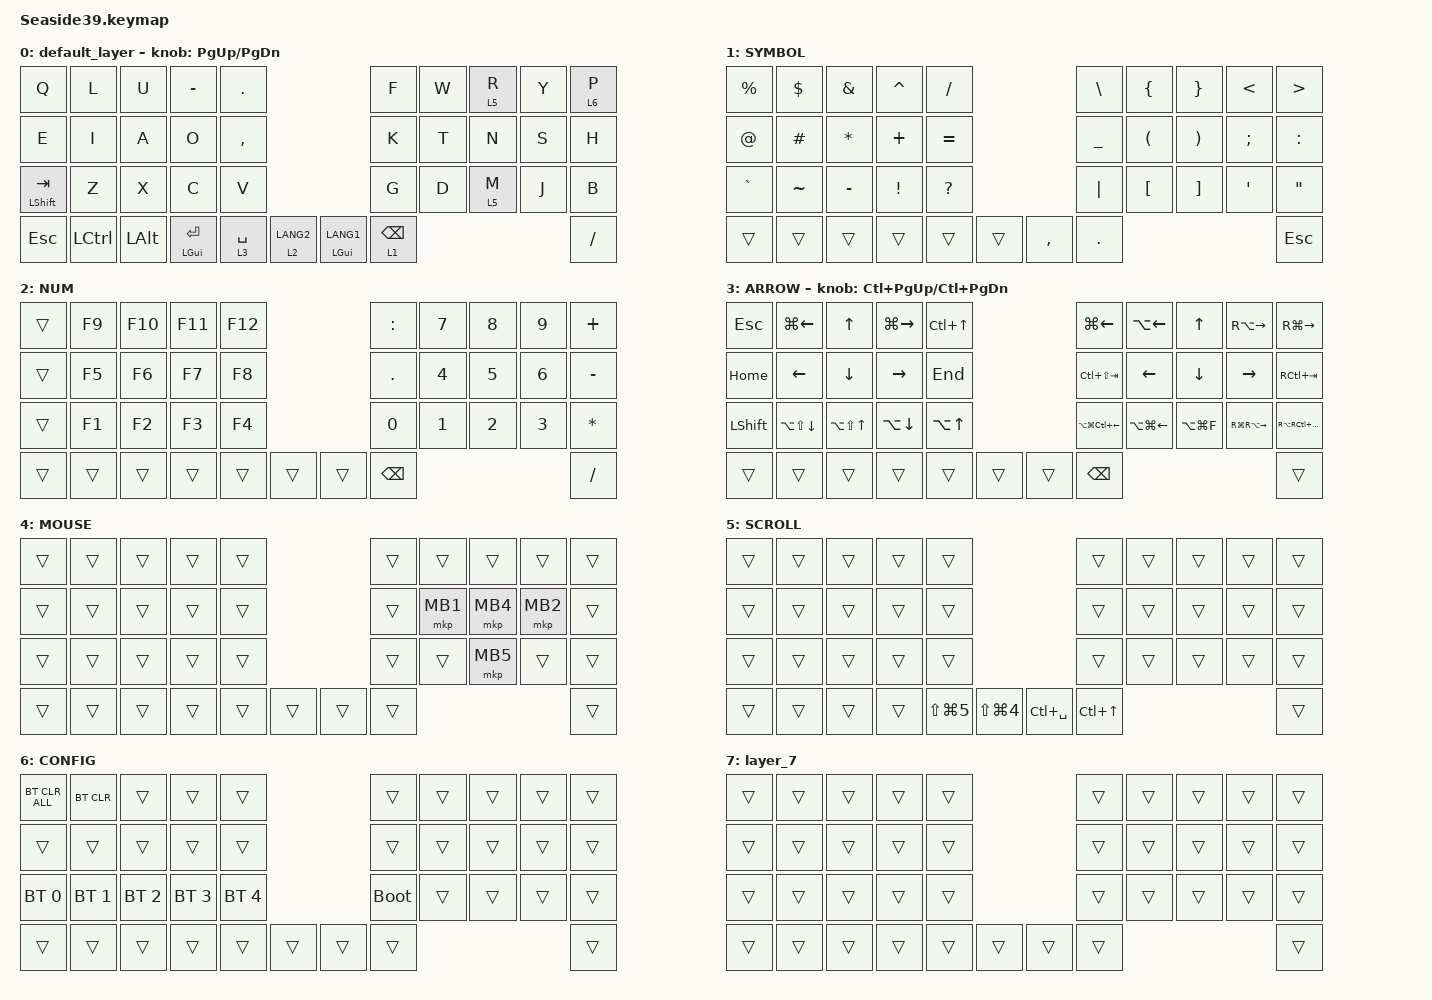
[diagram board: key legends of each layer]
#include <behaviors.dtsi>
#include <dt-bindings/zmk/bt.h>
#include <dt-bindings/zmk/keys.h>
#include <dt-bindings/zmk/pointing.h>

#define MOUSE 4
#define SCROLL 5
#define NUM 6

&mt {
    flavor = "balanced";
    quick-tap-ms = <300>;
};

&lt {
    flavor = "balanced";
    quick-tap-ms = <300>;
};

/ {
    combos { compatible = "zmk,combos"; };

    macros {
        to_layer_0: to_layer_0 {
            compatible = "zmk,behavior-macro-one-param";
            #binding-cells = <1>;
            bindings = <&to 0 &macro_param_1to1 &kp MACRO_PLACEHOLDER>;
            label = "TO_LAYER_0";
        };
    };

    behaviors {
        lt_to_layer_0: lt_to_layer_0 {
            compatible = "zmk,behavior-hold-tap";
            label = "LAYER_TAP_TO_0";
            bindings = <&mo>, <&to_layer_0>;

            #binding-cells = <2>;
            tapping-term-ms = <200>;
        };
    };

    keymap {
        compatible = "zmk,keymap";

        default_layer {
            bindings = <
&kp Q               &kp L      &kp U         &kp MINUS           &kp PERIOD                                        &kp F            &kp W  &lt 5 R  &kp Y  &lt 6 P
&kp E               &kp I      &kp A         &kp O               &kp COMMA                                         &kp K            &kp T  &kp N    &kp S  &kp H
&mt LEFT_SHIFT TAB  &kp Z      &kp X         &kp C               &kp V                                             &kp G            &kp D  &lt 5 M  &kp J  &kp B
&kp ESC             &kp LCTRL  &kp LEFT_ALT  &mt LEFT_GUI ENTER  &lt 3 SPACE  &lt 2 LANG2      &mt LEFT_GUI LANG1  &lt 1 BACKSPACE                         &kp FSLH
            >;

            sensor-bindings = <&inc_dec_kp PG_UP PAGE_DOWN>;
        };

        SYMBOL {
            bindings = <
&kp PRCNT  &kp DOLLAR  &kp AMPERSAND  &kp CARET        &kp FSLH                             &kp BSLH        &kp LEFT_BRACE        &kp RIGHT_BRACE        &kp LESS_THAN  &kp GREATER_THAN
&kp AT     &kp HASH    &kp ASTERISK   &kp PLUS         &kp EQUAL                            &kp UNDERSCORE  &kp LEFT_PARENTHESIS  &kp RIGHT_PARENTHESIS  &kp SEMI       &kp COLON
&kp GRAVE  &kp TILDE   &kp MINUS      &kp EXCLAMATION  &kp QUESTION                         &kp PIPE        &kp LBKT              &kp RBKT               &kp SQT        &kp DOUBLE_QUOTES
&trans     &trans      &trans         &trans           &trans        &trans      &kp COMMA  &kp PERIOD                                                                  &kp ESC
            >;
        };

        NUM {
            bindings = <
&trans  &kp F9  &kp F10  &kp F11  &kp F12                      &kp COLON      &kp NUMBER_7  &kp NUMBER_8  &kp NUMBER_9  &kp PLUS
&trans  &kp F5  &kp F6   &kp F7   &kp F8                       &kp PERIOD     &kp NUMBER_4  &kp NUMBER_5  &kp NUMBER_6  &kp MINUS
&trans  &kp F1  &kp F2   &kp F3   &kp F4                       &kp NUMBER_0   &kp NUMBER_1  &kp NUMBER_2  &kp NUMBER_3  &kp ASTERISK
&trans  &trans  &trans   &trans   &trans   &trans      &trans  &kp BACKSPACE                                            &kp SLASH
            >;
        };

        ARROW {
            bindings = <
&kp ESCAPE      &kp LG(LEFT_ARROW)      &kp UP_ARROW          &kp LG(RIGHT_ARROW)  &kp LC(UP_ARROW)                      &kp LG(LEFT_ARROW)          &kp LA(LEFT_ARROW)      &kp UP_ARROW    &kp RA(RIGHT_ARROW)      &kp RG(RIGHT_ARROW)
&kp HOME        &kp LEFT_ARROW          &kp DOWN_ARROW        &kp RIGHT_ARROW      &kp END                               &kp LC(LS(TAB))             &kp LEFT_ARROW          &kp DOWN_ARROW  &kp RIGHT_ARROW          &kp RC(TAB)
&kp LEFT_SHIFT  &kp LA(LS(DOWN_ARROW))  &kp LA(LS(UP_ARROW))  &kp LA(DOWN_ARROW)   &kp LA(UP_ARROW)                      &kp LA(LG(LC(LEFT_ARROW)))  &kp LA(LG(LEFT_ARROW))  &kp LA(LG(F))   &kp RG(RA(RIGHT_ARROW))  &kp RA(RC(RG(RIGHT_ARROW)))
&trans          &trans                  &trans                &trans               &trans            &trans      &trans  &kp BACKSPACE                                                                                &trans
            >;

            sensor-bindings = <&inc_dec_kp LC(PAGE_UP) LC(PAGE_DOWN)>;
        };

        MOUSE {
            bindings = <
&trans  &trans  &trans  &trans  &trans                      &trans  &trans    &trans    &trans    &trans
&trans  &trans  &trans  &trans  &trans                      &trans  &mkp MB1  &mkp MB4  &mkp MB2  &trans
&trans  &trans  &trans  &trans  &trans                      &trans  &trans    &mkp MB5  &trans    &trans
&trans  &trans  &trans  &trans  &trans  &trans      &trans  &trans                                &trans
            >;
        };

        SCROLL {
            bindings = <
&trans  &trans  &trans  &trans  &trans                                             &trans            &trans  &trans  &trans  &trans
&trans  &trans  &trans  &trans  &trans                                             &trans            &trans  &trans  &trans  &trans
&trans  &trans  &trans  &trans  &trans                                             &trans            &trans  &trans  &trans  &trans
&trans  &trans  &trans  &trans  &kp LS(LG(N5))  &kp LS(LG(N4))      &kp LC(SPACE)  &kp LC(UP_ARROW)                          &trans
            >;
        };

        CONFIG {
            bindings = <
&bt BT_CLR_ALL  &bt BT_CLR    &trans        &trans        &trans                            &trans       &trans  &trans  &trans  &trans
&trans          &trans        &trans        &trans        &trans                            &trans       &trans  &trans  &trans  &trans
&bt BT_SEL 0    &bt BT_SEL 1  &bt BT_SEL 2  &bt BT_SEL 3  &bt BT_SEL 4                      &bootloader  &trans  &trans  &trans  &trans
&trans          &trans        &trans        &trans        &trans        &trans      &trans  &trans                               &trans
            >;
        };

        layer_7 {
            bindings = <
&trans  &trans  &trans  &trans  &trans                      &trans  &trans  &trans  &trans  &trans
&trans  &trans  &trans  &trans  &trans                      &trans  &trans  &trans  &trans  &trans
&trans  &trans  &trans  &trans  &trans                      &trans  &trans  &trans  &trans  &trans
&trans  &trans  &trans  &trans  &trans  &trans      &trans  &trans                          &trans
            >;
        };
    };
};
